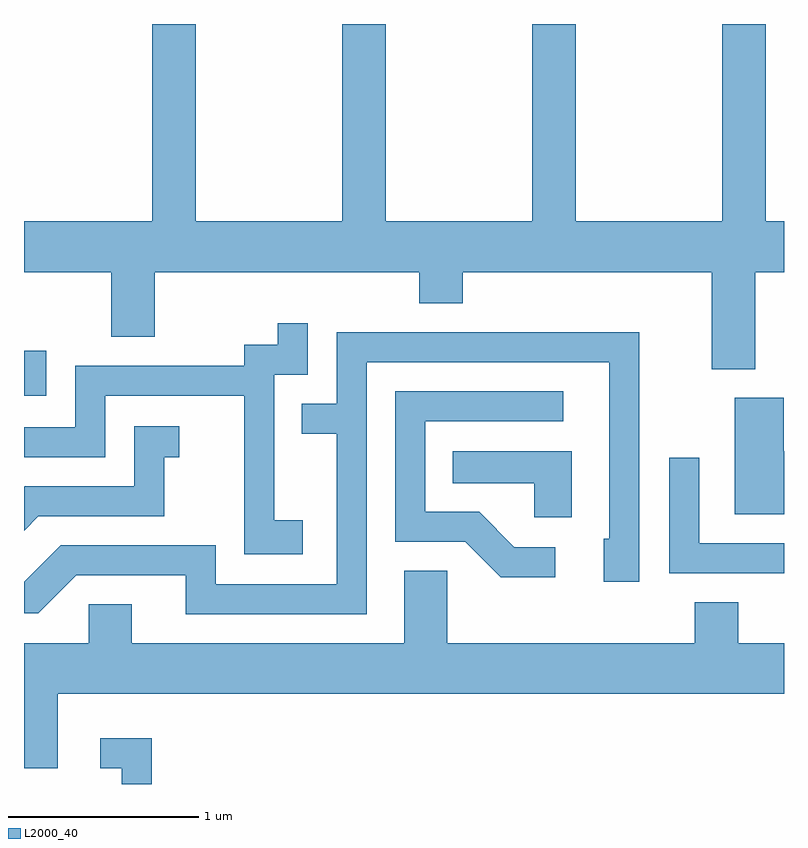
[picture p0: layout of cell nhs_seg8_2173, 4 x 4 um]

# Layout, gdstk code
import gdstk
lib = gdstk.Library(unit=1e-6, precision=1e-09)
def R(c, l, rs):  # rectangles x0, y0, x1, y1
    for r in rs: c.add(gdstk.rectangle(r[:2], r[2:], *l))
def P(c, l, *ps):  # polygons
    for p in ps: c.add(gdstk.Polygon(p, *l))
L2000_40 = (2000, 40)

nhs_seg8_2173 = lib.new_cell('nhs_seg8_2173')
R(nhs_seg8_2173, L2000_40, [(249.611,1882.386,249.729,1882.623)])
P(nhs_seg8_2173, L2000_40, [(253.459,1883.036),(253.611,1883.036),(253.611,1883.304),(253.514,1883.304),(253.514,1884.342),(253.286,1884.342),(253.286,1883.304),(252.514,1883.304),(252.514,1884.342),(252.286,1884.342),(252.286,1883.304),(251.514,1883.304),(251.514,1884.342),(251.286,1884.342),(251.286,1883.304),(250.514,1883.304),(250.514,1884.342),(250.286,1884.342),(250.286,1883.304),(249.611,1883.304),(249.611,1883.036),(250.071,1883.036),(250.071,1882.696),(250.299,1882.696),(250.299,1883.036),(251.691,1883.036),(251.691,1882.871),(251.919,1882.871),(251.919,1883.036),(253.231,1883.036),(253.231,1882.526),(253.459,1882.526)],
  [(251.079,1881.729),(250.929,1881.729),(250.929,1882.496),(251.104,1882.496),(251.104,1882.768),(250.946,1882.768),(250.946,1882.654),(250.771,1882.654),(250.771,1882.544),(249.881,1882.544),(249.881,1882.219),(249.611,1882.219),(249.611,1882.061),(250.039,1882.061),(250.039,1882.386),(250.771,1882.386),(250.771,1881.551),(251.079,1881.551)],
  [(251.414,1882.561),(252.691,1882.561),(252.691,1881.634),(252.661,1881.634),(252.661,1881.406),(252.849,1881.406),(252.849,1882.719),(251.256,1882.719),(251.256,1882.344),(251.073,1882.344),(251.073,1882.186),(251.256,1882.186),(251.256,1881.394),(250.619,1881.394),(250.619,1881.599),(249.804,1881.599),(249.611,1881.406),(249.611,1881.241),(249.687,1881.241),(249.887,1881.441),(250.461,1881.441),(250.461,1881.236),(251.414,1881.236)],
  [(252.408,1881.589),(252.192,1881.589),(252.007,1881.774),(251.724,1881.774),(251.724,1882.251),(252.448,1882.251),(252.448,1882.409),(251.566,1882.409),(251.566,1881.616),(251.934,1881.616),(252.119,1881.431),(252.408,1881.431)],
  [(253.611,1882.094),(253.609,1882.094),(253.609,1882.374),(253.351,1882.374),(253.351,1881.761),(253.611,1881.761)],
  [(249.687,1881.751),(250.349,1881.751),(250.349,1882.061),(250.428,1882.061),(250.428,1882.224),(250.191,1882.224),(250.191,1881.909),(249.614,1881.909),(249.611,1881.906),(249.611,1881.675)],
  [(252.494,1882.094),(251.868,1882.094),(251.868,1881.926),(252.296,1881.926),(252.296,1881.746),(252.494,1881.746)],
  [(253.611,1881.609),(253.164,1881.609),(253.164,1882.058),(253.006,1882.058),(253.006,1881.451),(253.611,1881.451)],
  [(249.789,1880.816),(253.611,1880.816),(253.611,1881.084),(253.369,1881.084),(253.369,1881.299),(253.141,1881.299),(253.141,1881.084),(251.839,1881.084),(251.839,1881.464),(251.611,1881.464),(251.611,1881.084),(250.179,1881.084),(250.179,1881.289),(249.951,1881.289),(249.951,1881.084),(249.611,1881.084),(249.611,1880.426),(249.789,1880.426)],
  [(250.284,1880.584),(250.013,1880.584),(250.013,1880.426),(250.126,1880.426),(250.126,1880.342),(250.284,1880.342)])

lib.write_gds('nhs_seg8_2173.gds')
